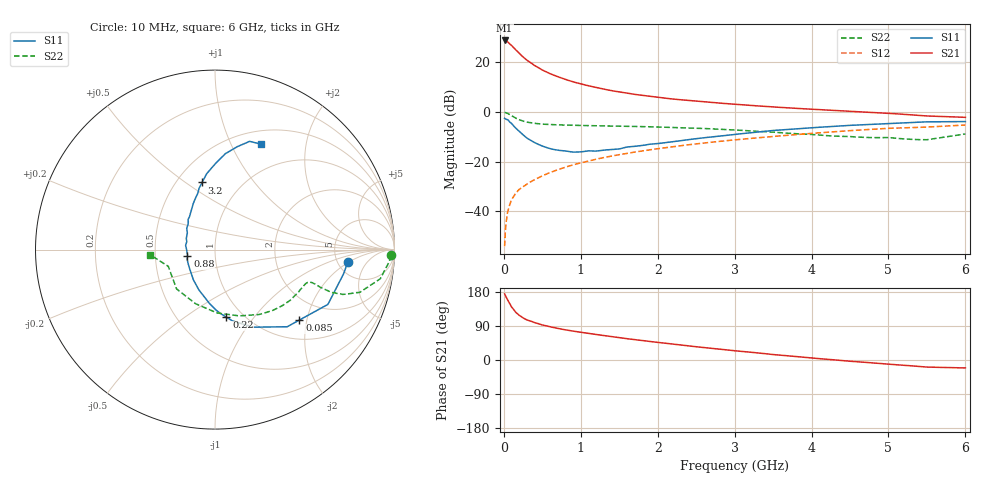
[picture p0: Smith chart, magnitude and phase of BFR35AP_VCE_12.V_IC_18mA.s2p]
! Infineon Technologies  Discrete & RF Semiconductors
! BFR35AP
! VCE =  12. V,  IC =  18 mA
! Common Emitter S-Parameters:  Nov 2015
# GHz  S  MA  R  50
!  f  S11  S21  S12  S22
! GHz  MAG  ANG  MAG  ANG  MAG  ANG  MAG  ANG
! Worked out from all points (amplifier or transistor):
!   210 points, 10 MHz to 6 GHz, reference 50 ohm
!   highest |S21| = 28.8 dB at 10 MHz (marker M1)
!   |S21| within 3 dB of that: start of sweep to 130.5 MHz
!   unconditionally stable (mu >= 1): 488.7 MHz to 2.615 GHz
!   at 185 MHz: K = 0.64, MSG = 27.8 dB, |S12| = -31.6 dB
!   at 1.52 GHz: K = 1.09, MAG = 10.7 dB, |S12| = -17.1 dB
!   at 6 GHz: K = 0.87, MSG = 1.5 dB, |S12| = -5.2 dB
!   S11 on the Smith chart (normalised r, x): 10 MHz: 6.23, -1.88; 85 MHz: 1.44, -1.80; 220 MHz: 0.84, -0.74; 880 MHz: 0.73, -0.05; 3.2 GHz: 0.66, +0.58; 6 GHz: 0.66, +1.31
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0.01  0.7439 -5.2  27.43 174.6  0.002 87.6  0.9826 -1.9
0.02  0.7288 -10.7  27.14 170.0  0.0041 82.5  0.9717 -4.2
0.05  0.6992 -25.9  25.69 157.6  0.0098 75.9  0.9351 -10.0
0.085  0.6125 -39.9  22.78 145.9  0.0149 71.5  0.8687 -14.3
0.1  0.5887 -46.9  21.87 140.1  0.0171 70.4  0.842 -16.4
0.15  0.4817 -63.8  18.07 126.5  0.0227 65.9  0.7555 -19.3
0.2  0.408 -76.4  15.08 117.9  0.0277 65.5  0.6969 -20.1
0.22  0.3819 -80.4  14.12 115.4  0.0291 65.3  0.6799 -20.1
0.26  0.3366 -89.1  12.38 110.0  0.0322 65.3  0.6483 -19.9
0.3  0.2985 -96.5  11 105.7  0.0356 66.3  0.6244 -19.7
0.4  0.2422 -111.7  8.588 98.6  0.0435 67.4  0.5901 -19.0
0.5  0.2065 -125.8  6.974 92.4  0.0517 68.6  0.5691 -18.8
0.6  0.1833 -137.9  5.9 87.6  0.0605 69.0  0.5587 -18.9
0.88  0.1575 -167.4  4.125 76.9  0.0846 69.3  0.5399 -20.5
1.02  0.1587 179.2  3.603 72.6  0.0965 69.1  0.5343 -22.0
1.4  0.1758 152.5  2.682 61.7  0.1297 67.2  0.5228 -26.6
2.02  0.2331 127.4  1.953 46.0  0.1842 62.4  0.4978 -36.1
3.1  0.3669 102.6  1.392 22.6  0.2839 52.1  0.426 -58.5
3.2  0.3808 100.9  1.357 20.7  0.2931 50.9  0.4163 -61.2
4.1  0.4923 88.3  1.114 3.6  0.3805 40.9  0.343 -92.0
5.1  0.5954 76.6  0.919 -12.5  0.4737 26.8  0.2958 -139.1
6  0.6408 66.4  0.78 -21.0  0.5467 15.8  0.3614 -175.3
